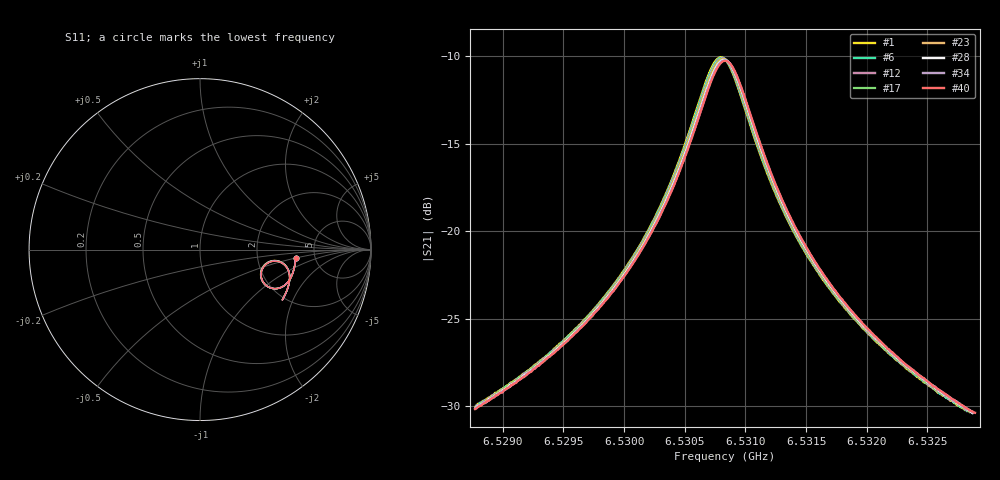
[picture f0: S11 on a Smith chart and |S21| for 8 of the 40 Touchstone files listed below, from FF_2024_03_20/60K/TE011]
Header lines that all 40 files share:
#  HZ  S  RI  R  50.00
! Rohde & Schwarz Vector Network Analyzer
! Rohde-Schwarz,ZNB20-2Port,1311601062101988,3.16
! freq[Hz]  re:S11  im:S11  re:S21  im:S21  re:S12  im:S12  re:S22  im:S22
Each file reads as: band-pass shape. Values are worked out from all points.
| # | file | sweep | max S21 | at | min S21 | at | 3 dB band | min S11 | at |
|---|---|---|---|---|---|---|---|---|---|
| 1 | 160_1_58.0005_58.9726982_40243.547_431.9092309474945_.s2p | 6.528787 GHz to 6.532809 GHz | -10.06 dB | 6.530798 GHz | -30.2 dB | 6.532809 GHz | 6.530607 GHz-6.530999 GHz | -8.4 dB | 6.530808 GHz |
| 2 | 161_1_58.0003_58.9736977_40504.297_434.33056807518005_.s2p | 6.528786 GHz to 6.532811 GHz | -10.06 dB | 6.530798 GHz | -30.2 dB | 6.532811 GHz | 6.530607 GHz-6.531 GHz | -8.4 dB | 6.530798 GHz |
| 3 | 162_1_58.0001_58.9745522_40735.078_436.7416527271271_.s2p | 6.528786 GHz to 6.532813 GHz | -10.06 dB | 6.5308 GHz | -30.2 dB | 6.532813 GHz | 6.530608 GHz-6.531001 GHz | -8.4 dB | 6.5308 GHz |
| 4 | 163_1_58.0_58.9751167_41547.715_444.8445990085602_.s2p | 6.528788 GHz to 6.532813 GHz | -10.08 dB | 6.5308 GHz | -30.2 dB | 6.532813 GHz | 6.530609 GHz-6.531002 GHz | -8.4 dB | 6.53081 GHz |
| 5 | 164_1_58.0003_58.9757538_41788.492_447.2614960670471_.s2p | 6.528785 GHz to 6.532822 GHz | -10.09 dB | 6.530803 GHz | -30.2 dB | 6.532822 GHz | 6.530612 GHz-6.531005 GHz | -8.4 dB | 6.530803 GHz |
| 6 | 165_1_58.0004_58.9755745_42049.809_449.6727967262268_.s2p | 6.528783 GHz to 6.532825 GHz | -10.10 dB | 6.530804 GHz | -30.3 dB | 6.532825 GHz | 6.530612 GHz-6.531006 GHz | -8.4 dB | 6.530814 GHz |
| 7 | 166_1_58.0006_58.97649_42290.496_452.08883452415466_.s2p | 6.528784 GHz to 6.532825 GHz | -10.10 dB | 6.530805 GHz | -30.2 dB | 6.532825 GHz | 6.530613 GHz-6.531007 GHz | -8.4 dB | 6.530815 GHz |
| 8 | 167_1_58.001_58.9782181_42521.371_454.49888586997986_.s2p | 6.528784 GHz to 6.532826 GHz | -10.10 dB | 6.530805 GHz | -30.2 dB | 6.532826 GHz | 6.530613 GHz-6.531007 GHz | -8.4 dB | 6.530815 GHz |
| 9 | 168_1_58.0003_58.9773026_42761.621_456.8953146934509_.s2p | 6.528781 GHz to 6.532831 GHz | -10.11 dB | 6.530806 GHz | -30.2 dB | 6.532831 GHz | 6.530614 GHz-6.531009 GHz | -8.4 dB | 6.530806 GHz |
| 10 | 169_1_58.0008_58.9789467_42993.012_459.3353383541107_.s2p | 6.528781 GHz to 6.532833 GHz | -10.11 dB | 6.530807 GHz | -30.2 dB | 6.532833 GHz | 6.530615 GHz-6.53101 GHz | -8.4 dB | 6.530807 GHz |
| 11 | 170_1_58.0001_58.9790306_43243.176_461.7321012020111_.s2p | 6.528785 GHz to 6.532831 GHz | -10.12 dB | 6.530808 GHz | -30.2 dB | 6.532831 GHz | 6.530616 GHz-6.53101 GHz | -8.4 dB | 6.530808 GHz |
| 12 | 171_1_58.0001_58.977581_43494.07_464.14314246177673_.s2p | 6.528783 GHz to 6.532835 GHz | -10.12 dB | 6.530809 GHz | -30.2 dB | 6.532825 GHz | 6.530616 GHz-6.531012 GHz | -8.4 dB | 6.530809 GHz |
| 13 | 172_1_58.001_58.9788513_43724.902_466.56526017189026_.s2p | 6.528783 GHz to 6.532836 GHz | -10.13 dB | 6.53081 GHz | -30.2 dB | 6.532836 GHz | 6.530617 GHz-6.531012 GHz | -8.4 dB | 6.53082 GHz |
| 14 | 173_1_58.0002_58.9827576_43975.645_468.9883954524994_.s2p | 6.52878 GHz to 6.532841 GHz | -10.13 dB | 6.53081 GHz | -30.3 dB | 6.532841 GHz | 6.530617 GHz-6.531013 GHz | -8.4 dB | 6.53082 GHz |
| 15 | 174_1_58.0_58.9823952_44216.426_471.39541888237_.s2p | 6.528782 GHz to 6.53284 GHz | -10.13 dB | 6.530811 GHz | -30.3 dB | 6.53284 GHz | 6.530618 GHz-6.531014 GHz | -8.4 dB | 6.530821 GHz |
| 16 | 175_1_58.0004_58.9827576_44457.324_473.85294485092163_.s2p | 6.528781 GHz to 6.532843 GHz | -10.14 dB | 6.530812 GHz | -30.3 dB | 6.532843 GHz | 6.530619 GHz-6.531015 GHz | -8.4 dB | 6.530822 GHz |
| 17 | 176_1_57.9997_58.9818535_44707.992_476.2789566516876_.s2p | 6.528779 GHz to 6.532846 GHz | -10.14 dB | 6.530813 GHz | -30.3 dB | 6.532846 GHz | 6.53062 GHz-6.531016 GHz | -8.4 dB | 6.530813 GHz |
| 18 | 177_1_58.0003_58.9830322_44928.5_478.6751880645752_.s2p | 6.52878 GHz to 6.532847 GHz | -10.15 dB | 6.530814 GHz | -30.3 dB | 6.532847 GHz | 6.53062 GHz-6.531017 GHz | -8.4 dB | 6.530814 GHz |
| 19 | 178_1_58.0001_58.9838524_45179.707_481.0877983570099_.s2p | 6.52878 GHz to 6.532849 GHz | -10.15 dB | 6.530814 GHz | -30.3 dB | 6.532849 GHz | 6.530621 GHz-6.531018 GHz | -8.4 dB | 6.530814 GHz |
| 20 | 179_1_58.001_58.9853096_45400.348_483.50119256973267_.s2p | 6.528781 GHz to 6.532849 GHz | -10.16 dB | 6.530815 GHz | -30.3 dB | 6.532849 GHz | 6.530622 GHz-6.531018 GHz | -8.4 dB | 6.530825 GHz |
| 21 | 180_1_58.0004_58.9844894_45680.887_485.9121289253235_.s2p | 6.52878 GHz to 6.532852 GHz | -10.16 dB | 6.530816 GHz | -30.3 dB | 6.532852 GHz | 6.530622 GHz-6.531019 GHz | -8.4 dB | 6.530816 GHz |
| 22 | 181_1_58.0_58.9863968_45901.523_488.33250284194946_.s2p | 6.52878 GHz to 6.532853 GHz | -10.17 dB | 6.530817 GHz | -30.3 dB | 6.532853 GHz | 6.530623 GHz-6.53102 GHz | -8.4 dB | 6.530817 GHz |
| 23 | 182_1_57.9999_58.9857597_46152.516_490.7768814563751_.s2p | 6.528778 GHz to 6.532857 GHz | -10.17 dB | 6.530818 GHz | -30.3 dB | 6.532857 GHz | 6.530624 GHz-6.531022 GHz | -8.4 dB | 6.530818 GHz |
| 24 | 183_1_57.9994_58.9858513_46403.852_493.17764163017273_.s2p | 6.528781 GHz to 6.532856 GHz | -10.18 dB | 6.530818 GHz | -30.3 dB | 6.532856 GHz | 6.530625 GHz-6.531022 GHz | -8.4 dB | 6.530828 GHz |
| 25 | 184_1_57.999_58.9873085_46634.629_495.62261056900024_.s2p | 6.528776 GHz to 6.532862 GHz | -10.18 dB | 6.530819 GHz | -30.3 dB | 6.532862 GHz | 6.530625 GHz-6.531023 GHz | -8.4 dB | 6.530819 GHz |
| 26 | 185_1_58.0005_58.9925308_47527.875_503.9880304336548_.s2p | 6.528778 GHz to 6.532861 GHz | -10.20 dB | 6.53082 GHz | -30.3 dB | 6.532861 GHz | 6.530626 GHz-6.531024 GHz | -8.4 dB | 6.53083 GHz |
| 27 | 186_1_58.0006_58.9907112_47738.059_506.4009680747986_.s2p | 6.528777 GHz to 6.532868 GHz | -10.20 dB | 6.530822 GHz | -30.3 dB | 6.532868 GHz | 6.530628 GHz-6.531027 GHz | -8.4 dB | 6.530822 GHz |
| 28 | 187_1_58.0003_58.9941673_47948.391_508.81197357177734_.s2p | 6.528777 GHz to 6.532869 GHz | -10.20 dB | 6.530823 GHz | -30.4 dB | 6.532869 GHz | 6.530629 GHz-6.531028 GHz | -8.4 dB | 6.530823 GHz |
| 29 | 188_1_58.0003_58.9952621_48239.59_511.2256729602814_.s2p | 6.528778 GHz to 6.532869 GHz | -10.21 dB | 6.530824 GHz | -30.4 dB | 6.532869 GHz | 6.530629 GHz-6.531028 GHz | -8.4 dB | 6.530824 GHz |
| 30 | 189_1_58.0003_58.9949837_48480.469_513.633152961731_.s2p | 6.528774 GHz to 6.532875 GHz | -10.21 dB | 6.530825 GHz | -30.4 dB | 6.532875 GHz | 6.53063 GHz-6.53103 GHz | -8.4 dB | 6.530835 GHz |
| 31 | 190_1_58.0003_58.9954376_48700.883_516.0576004981995_.s2p | 6.528777 GHz to 6.532873 GHz | -10.22 dB | 6.530825 GHz | -30.3 dB | 6.532873 GHz | 6.530631 GHz-6.53103 GHz | -8.4 dB | 6.530825 GHz |
| 32 | 191_1_58.0005_58.9931679_48962.074_518.6476867198944_.s2p | 6.528776 GHz to 6.532876 GHz | -10.22 dB | 6.530826 GHz | -30.4 dB | 6.532876 GHz | 6.530631 GHz-6.531031 GHz | -8.4 dB | 6.530836 GHz |
| 33 | 192_1_58.0007_58.9963455_49182.449_521.0790162086487_.s2p | 6.528776 GHz to 6.532877 GHz | -10.23 dB | 6.530827 GHz | -30.3 dB | 6.532877 GHz | 6.530632 GHz-6.531032 GHz | -8.4 dB | 6.530837 GHz |
| 34 | 193_1_57.9999_58.9981689_49443.203_523.6007354259491_.s2p | 6.528776 GHz to 6.532879 GHz | -10.23 dB | 6.530828 GHz | -30.4 dB | 6.532879 GHz | 6.530633 GHz-6.531033 GHz | -8.4 dB | 6.530828 GHz |
| 35 | 194_1_58.0002_58.9975319_49704.273_526.0147936344147_.s2p | 6.528774 GHz to 6.532883 GHz | -10.24 dB | 6.530828 GHz | -30.4 dB | 6.532883 GHz | 6.530633 GHz-6.531034 GHz | -8.4 dB | 6.530828 GHz |
| 36 | 195_1_58.0001_58.9975319_49945.016_528.4366331100464_.s2p | 6.528774 GHz to 6.532884 GHz | -10.24 dB | 6.530829 GHz | -30.4 dB | 6.532884 GHz | 6.530634 GHz-6.531035 GHz | -8.4 dB | 6.530829 GHz |
| 37 | 196_1_57.9996_59.0004425_50175.715_530.8599758148193_.s2p | 6.528775 GHz to 6.532885 GHz | -10.25 dB | 6.53083 GHz | -30.4 dB | 6.532874 GHz | 6.530634 GHz-6.531035 GHz | -8.4 dB | 6.53083 GHz |
| 38 | 197_1_57.9999_58.9991684_50426.469_533.282016992569_.s2p | 6.528773 GHz to 6.532888 GHz | -10.25 dB | 6.530831 GHz | -30.4 dB | 6.532888 GHz | 6.530635 GHz-6.531036 GHz | -8.4 dB | 6.530841 GHz |
| 39 | 198_1_58.0004_58.9991684_50667.465_535.7030019760132_.s2p | 6.528773 GHz to 6.53289 GHz | -10.26 dB | 6.530831 GHz | -30.4 dB | 6.53289 GHz | 6.530636 GHz-6.531037 GHz | -8.4 dB | 6.530831 GHz |
| 40 | 199_1_57.9998_59.0038147_50908.496_538.1173768043518_.s2p | 6.528772 GHz to 6.532892 GHz | -10.26 dB | 6.530832 GHz | -30.4 dB | 6.532892 GHz | 6.530636 GHz-6.531038 GHz | -8.4 dB | 6.530832 GHz |
